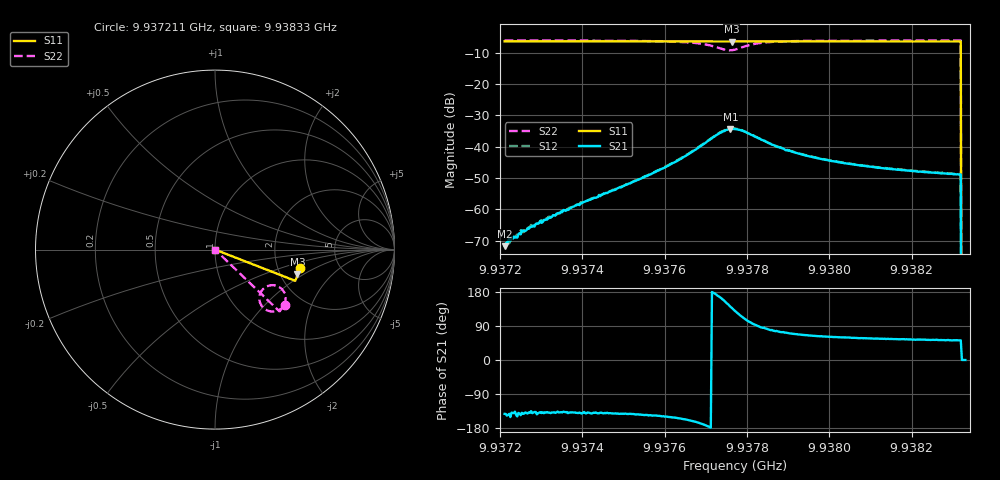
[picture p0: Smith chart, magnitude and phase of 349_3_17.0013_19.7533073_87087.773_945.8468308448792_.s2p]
#  HZ  S  RI  R  50.00
! Rohde & Schwarz Vector Network Analyzer
! Rohde-Schwarz,ZNB20-2Port,1311601062101988,3.16
! Created: UTC 3/20/2024, 11:07:46 PM
! freq[Hz]  re:S11  im:S11  re:S21  im:S21  re:S12  im:S12  re:S22  im:S22
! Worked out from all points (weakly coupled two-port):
!   401 points, 9.937211 GHz to 9.93833 GHz, reference 50 ohm
!   highest |S21| = -34.30 dB at 9.93776 GHz (marker M1); lowest = -71.8 dB at 9.937211 GHz (marker M2)
!   lowest |S11| = -6.4 dB at 9.937762 GHz (marker M3), VSWR 2.84, Z = 124 - j44.1 ohm
!   |S11| at or under -10 dB: 9.938319 GHz to end of sweep
!   |S22| runs from - to -6.0 dB; largest |S21 - S12| = 0.00078
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9.9372111e9  0.4728 -0.1023  -0.000203 -0.000158  -0.000227 -0.000137  0.3897 -0.3109
9.9372279e9  0.4725 -0.1034  -0.000269 -0.000236  -0.000252 -0.000182  0.3885 -0.3118
9.9372475e9  0.4724 -0.1048  -0.000324 -0.00026  -0.000342 -0.000234  0.3871 -0.3133
9.9372587e9  0.4719 -0.1056  -0.00035 -0.000278  -0.000365 -0.000287  0.3862 -0.3143
9.9372727e9  0.4717 -0.1063  -0.000387 -0.000334  -0.000387 -0.00035  0.3853 -0.3151
9.9373986e9  0.4691 -0.115  -0.000974 -0.000779  -0.000957 -0.000835  0.3744 -0.3247
9.9375861e9  0.4649 -0.1276  -0.00354 -0.00228  -0.0036 -0.00226  0.343 -0.3413
9.9376364e9  0.4636 -0.1307  -0.00564 -0.00275  -0.00579 -0.00269  0.3231 -0.3448
9.937698e9  0.4616 -0.1349  -0.0113 -0.00159  -0.0115 -0.00145  0.2775 -0.331
9.9377344e9  0.4599 -0.1368  -0.016 0.00411  -0.0162 0.00468  0.2474 -0.2793
9.9377595e9  0.4592 -0.1373  -0.0149 0.0122  -0.0148 0.0127  0.2669 -0.221
9.9377623e9  0.4591 -0.1374  -0.0143 0.0127  -0.0143 0.0133  0.2723 -0.2158
9.9377707e9  0.4592 -0.1376  -0.0122 0.0147  -0.0121 0.0154  0.2914 -0.2042
9.9377931e9  0.4594 -0.1386  -0.00595 0.0165  -0.0055 0.0168  0.3428 -0.2018
9.9378323e9  0.4594 -0.1416  0.000778 0.0133  0.00104 0.0133  0.3861 -0.2391
9.9378967e9  0.4582 -0.1462  0.00278 0.00841  0.00303 0.00843  0.3932 -0.2823
9.9379582e9  0.4565 -0.1504  0.00299 0.00616  0.00311 0.0062  0.3879 -0.3026
9.9380422e9  0.4546 -0.156  0.00274 0.00463  0.0029 0.00463  0.3801 -0.3182
9.9381457e9  0.4517 -0.1627  0.00251 0.00363  0.00262 0.00364  0.3713 -0.3299
9.9383136e9  0.4469 -0.1733  0.00222 0.00284  0.00231 0.00282  0.3595 -0.3433
9.9383276e9  0 0  0 0  0 0  0 0
9.9383304e9  0 0  0 0  0 0  0 0
